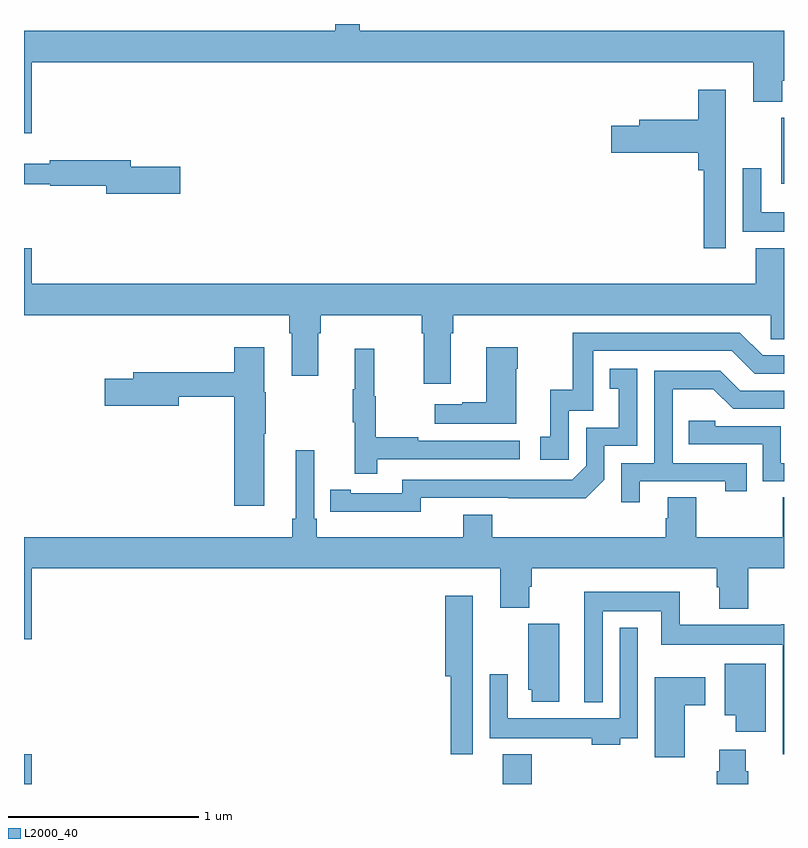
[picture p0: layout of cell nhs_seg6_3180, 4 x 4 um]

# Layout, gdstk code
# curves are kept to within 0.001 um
import gdstk
lib = gdstk.Library(unit=1e-6, precision=1e-09)
def R(c, l, rs):  # rectangles x0, y0, x1, y1
    for r in rs: c.add(gdstk.rectangle(r[:2], r[2:], *l))
def P(c, l, *ps):  # polygons
    for p in ps: c.add(gdstk.Polygon(p, *l))
L2000_40 = (2000, 40)

nhs_seg6_3180 = lib.new_cell('nhs_seg6_3180')
R(nhs_seg6_3180, L2000_40, [(297,979.5,297.04,979.657), (299.519,979.5,299.672,979.657), (300.986,982.659,301,983.007)])
P(nhs_seg6_3180, L2000_40, [(297.04,983.3),(300.839,983.3),(300.839,983.092),(300.991,983.092),(300.991,983.201),(301,983.201),(301,983.464),(298.768,983.464),(298.768,983.5),(298.639,983.5),(298.639,983.464),(297,983.464),(297,982.926),(297.04,982.926)],
  [(300.693,982.839),(300.694,982.839),(300.694,983.155),(300.548,983.155),(300.548,982.995),(300.239,982.995),(300.239,982.965),(300.09,982.965),(300.09,982.823),(300.548,982.823),(300.548,982.73),(300.577,982.73),(300.577,982.32),(300.693,982.32)],
  [(297.823,982.748),(297.562,982.748),(297.562,982.784),(297.136,982.784),(297.136,982.765),(297,982.765),(297,982.656),(297.138,982.656),(297.138,982.648),(297.434,982.648),(297.434,982.606),(297.823,982.606)],
  [(301,982.51),(300.879,982.51),(300.879,982.741),(300.783,982.741),(300.783,982.406),(301,982.406)],
  [(299.245,981.872),(299.258,981.872),(299.258,981.968),(300.93,981.968),(300.93,981.841),(301,981.841),(301,982.321),(300.851,982.321),(300.851,982.132),(297.04,982.132),(297.04,982.321),(297,982.321),(297,981.968),(298.397,981.968),(298.397,981.872),(298.409,981.872),(298.409,981.648),(298.549,981.648),(298.549,981.872),(298.562,981.872),(298.562,981.968),(299.093,981.968),(299.093,981.872),(299.105,981.872),(299.105,981.606),(299.245,981.606)],
  [(299.868,981.465),(299.997,981.465),(299.997,981.78),(300.726,981.78),(300.846,981.66),(301,981.66),(301,981.756),(300.888,981.756),(300.768,981.876),(299.889,981.876),(299.889,981.574),(299.771,981.574),(299.771,981.327),(299.718,981.327),(299.718,981.207),(299.868,981.207)],
  [(298.264,981.343),(298.272,981.343),(298.272,981.561),(298.264,981.561),(298.264,981.799),(298.106,981.799),(298.106,981.667),(297.575,981.667),(297.575,981.633),(297.426,981.633),(297.426,981.491),(297.814,981.491),(297.814,981.538),(298.106,981.538),(298.106,980.964),(298.264,980.964)],
  [(299.59,981.686),(299.598,981.686),(299.598,981.799),(299.432,981.799),(299.432,981.509),(299.306,981.509),(299.306,981.499),(299.163,981.499),(299.163,981.395),(299.59,981.395)],
  [(298.859,981.21),(299.608,981.21),(299.608,981.306),(299.075,981.306),(299.075,981.326),(298.852,981.326),(298.852,981.54),(298.844,981.54),(298.844,981.79),(298.742,981.79),(298.742,981.577),(298.731,981.577),(298.731,981.403),(298.742,981.403),(298.742,981.132),(298.859,981.132)],
  [(299.088,981.006),(299.956,981.005),(300.054,981.102),(300.054,981.279),(300.228,981.279),(300.228,981.685),(300.082,981.685),(300.082,981.579),(300.131,981.579),(300.131,981.375),(299.958,981.375),(299.958,981.174),(299.886,981.102),(298.992,981.102),(298.992,981.03),(298.72,981.03),(298.72,981.05),(298.612,981.05),(298.612,980.934),(299.088,980.933)],
  [(300.241,981.093),(300.692,981.093),(300.692,981.042),(300.803,981.042),(300.803,981.189),(300.414,981.189),(300.414,981.578),(300.628,981.578),(300.732,981.474),(301,981.474),(301,981.57),(300.769,981.57),(300.664,981.675),(300.318,981.675),(300.318,981.189),(300.144,981.189),(300.144,980.982),(300.241,980.982)],
  [(301,981.189),(300.984,981.189),(300.984,981.384),(300.639,981.384),(300.639,981.411),(300.499,981.411),(300.499,981.288),(300.888,981.288),(300.888,981.093),(301,981.093)],
  [(297.04,980.636),(299.507,980.636),(299.507,980.428),(299.659,980.428),(299.659,980.537),(299.672,980.537),(299.672,980.636),(300.647,980.636),(300.647,980.535),(300.659,980.535),(300.659,980.423),(300.812,980.423),(300.812,980.636),(301,980.636),(301,981.008),(300.994,981.008),(300.994,980.8),(300.537,980.8),(300.537,981.008),(300.389,981.008),(300.389,980.898),(300.377,980.898),(300.377,980.8),(299.465,980.8),(299.465,980.917),(299.312,980.917),(299.312,980.8),(298.541,980.8),(298.541,980.896),(298.527,980.896),(298.527,981.256),(298.43,981.256),(298.43,980.896),(298.411,980.896),(298.411,980.8),(297,980.8),(297,980.262),(297.04,980.262)],
  [(301,980.341),(300.986,980.341),(300.986,980.338),(300.452,980.338),(300.452,980.512),(299.948,980.512),(299.948,979.931),(300.045,979.931),(300.045,980.408),(300.354,980.408),(300.354,980.234),(300.993,980.234),(300.993,979.656),(301,979.656)],
  [(299.361,980.17),(299.362,980.17),(299.362,980.491),(299.216,980.491),(299.216,980.066),(299.245,980.066),(299.245,979.656),(299.361,979.656)],
  [(299.818,980.343),(299.654,980.343),(299.654,979.995),(299.672,979.995),(299.672,979.932),(299.818,979.932)],
  [(300.139,979.74),(300.231,979.74),(300.231,980.323),(300.135,980.323),(300.135,979.846),(299.547,979.846),(299.547,980.077),(299.451,980.077),(299.451,979.742),(299.755,979.742),(299.755,979.74),(299.987,979.74),(299.987,979.706),(300.139,979.706)],
  [(300.904,980.134),(300.689,980.134),(300.689,979.862),(300.746,979.862),(300.746,979.776),(300.904,979.776)],
  [(300.478,979.915),(300.586,979.915),(300.586,980.062),(300.32,980.062),(300.32,979.64),(300.478,979.64)],
  [(300.812,979.566),(300.799,979.566),(300.799,979.681),(300.659,979.681),(300.659,979.566),(300.647,979.566),(300.647,979.5),(300.812,979.5)])

lib.write_gds('nhs_seg6_3180.gds')
